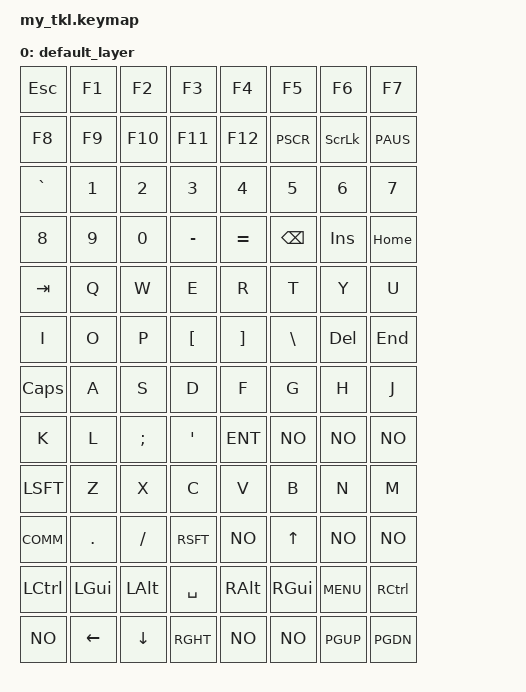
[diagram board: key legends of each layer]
#include <dt-bindings/zmk/keys.h>

/ {
    keymap {
        compatible = "zmk,keymap";

        // default_layer {
        //     bindings = <
        //         &kp ESC  &kp F1   &kp F2   &kp F3   &kp F4   &kp F5   &kp F6   &kp F7
        //         &kp F8   &kp F9   &kp F10  &kp F11  &kp F12  &kp PSCR &kp SLCK &kp PAUS
        //         &kp GRAVE &kp N1  &kp N2   &kp N3   &kp N4   &kp N5   &kp N6   &kp N7
        //         &kp N8   &kp N9   &kp N0   &kp MINUS &kp EQUAL &kp BSPC &kp INS &kp HOME
        //         &kp TAB  &kp Q    &kp W    &kp E    &kp R    &kp T    &kp Y    &kp U
        //         &kp I    &kp O    &kp P    &kp LBKT &kp RBKT &kp BSLH &kp DEL  &kp END
        //         &kp CAPS &kp A    &kp S    &kp D    &kp F    &kp G    &kp H    &kp J
        //         &kp K    &kp L    &kp SCLN &kp QUOT &kp ENT  &kp PGUP &kp PGDN &kp UP
        //         &kp LSFT &kp Z    &kp X    &kp C    &kp V    &kp B    &kp N    &kp M
        //         &kp COMM &kp DOT  &kp FSLH &kp RSFT &kp NO   &kp NO   &kp NO   &kp NO
        //         &kp LCTL &kp LGUI &kp LALT &kp SPC  &kp RALT &kp RGUI &kp RCTL &kp MENU
        //         &kp LEFT &kp DOWN &kp RGHT &kp NO   &kp NO   &kp NO   &kp NO   &kp NO
        //     >;
        // };

        default_layer {
            bindings = <
                &kp ESC  &kp F1   &kp F2   &kp F3   &kp F4   &kp F5   &kp F6   &kp F7
                &kp F8   &kp F9   &kp F10  &kp F11  &kp F12  &kp PSCR &kp SLCK &kp PAUS
                &kp GRAVE &kp N1  &kp N2   &kp N3   &kp N4   &kp N5   &kp N6   &kp N7
                &kp N8   &kp N9   &kp N0   &kp MINUS &kp EQUAL &kp BSPC &kp INS &kp HOME
                &kp TAB  &kp Q    &kp W    &kp E    &kp R    &kp T    &kp Y    &kp U
                &kp I    &kp O    &kp P    &kp LBKT &kp RBKT &kp BSLH &kp DEL  &kp END
                &kp CAPS &kp A    &kp S    &kp D    &kp F    &kp G    &kp H    &kp J
                &kp K    &kp L    &kp SCLN &kp QUOT &kp ENT  &kp NO   &kp NO   &kp NO
                &kp LSFT &kp Z    &kp X    &kp C    &kp V    &kp B    &kp N    &kp M
                &kp COMM &kp DOT  &kp FSLH &kp RSFT &kp NO   &kp UP   &kp NO   &kp NO
                &kp LCTL &kp LGUI &kp LALT &kp SPC  &kp RALT &kp RGUI &kp MENU &kp RCTL
                &kp NO   &kp LEFT &kp DOWN &kp RGHT &kp NO   &kp NO   &kp PGUP &kp PGDN
            >;
        };
    };
};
